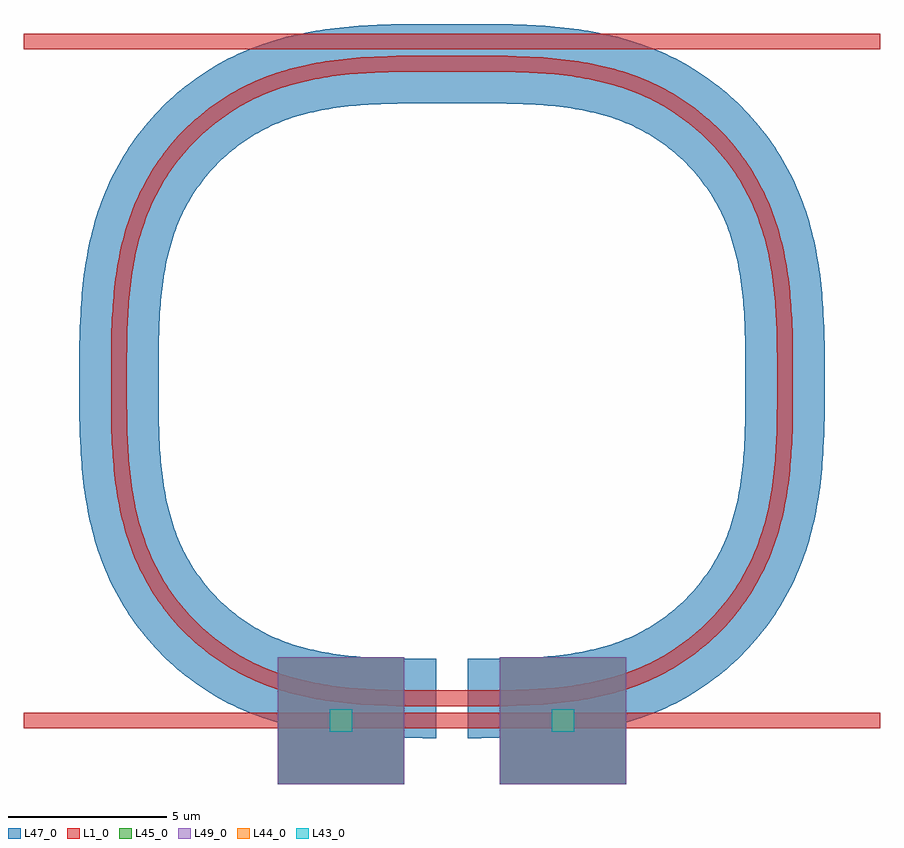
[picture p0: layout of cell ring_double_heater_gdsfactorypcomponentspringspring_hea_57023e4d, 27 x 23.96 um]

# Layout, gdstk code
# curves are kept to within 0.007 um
import gdstk
lib = gdstk.Library(unit=1e-6, precision=1e-09)
def R(c, l, rs):  # rectangles x0, y0, x1, y1
    for r in rs: c.add(gdstk.rectangle(r[:2], r[2:], *l))
def P(c, l, *ps):  # polygons
    for p in ps: c.add(gdstk.Polygon(p, *l))
L1_0 = (1, 0)
L43_0 = (43, 0)
L44_0 = (44, 0)
L45_0 = (45, 0)
L47_0 = (47, 0)
L49_0 = (49, 0)

ring_double_heater_gdsfa = lib.new_cell('ring_double_heater_gdsfactorypcomponentspringspring_hea_57023e4d')
R(ring_double_heater_gdsfa, L1_0, [(-14,-0.25,13,0.25), (-14,21.16,13,21.66)])
P(ring_double_heater_gdsfa, L1_0, [(-1.416,0.45),(-2.392,0.461),(-3.233,0.497),(-3.935,0.556),(-4.496,0.63),(-5.055,0.731),(-5.609,0.864),(-6.155,1.034),(-6.688,1.243),(-7.205,1.494),(-7.7,1.784),(-8.171,2.112),(-8.615,2.476),(-9.029,2.874),(-9.318,3.193),(-9.673,3.644),(-9.992,4.121),(-10.273,4.622),(-10.457,5.012),(-10.618,5.411),(-10.797,5.954),(-10.939,6.506),(-11.048,7.064),(-11.128,7.625),(-11.194,8.327),(-11.235,9.168),(-11.25,10.284),(-11.242,11.963),(-11.203,12.943),(-11.144,13.645),(-11.048,14.346),(-10.907,15.042),(-10.756,15.593),(-10.618,15.999),(-10.457,16.398),(-10.273,16.788),(-10.137,17.041),(-9.992,17.289),(-9.756,17.649),(-9.588,17.881),(-9.318,18.217),(-9.029,18.536),(-8.826,18.739),(-8.615,18.934),(-8.285,19.21),(-8.056,19.383),(-7.7,19.626),(-7.455,19.776),(-7.078,19.983),(-6.688,20.167),(-6.423,20.277),(-5.902,20.46),(-1.415,20.46),(-2.38,20.449),(-3.065,20.422),(-3.746,20.371),(-4.285,20.306),(-4.952,20.19),(-5.477,20.063),(-5.99,19.904),(-6.488,19.709),(-6.969,19.475),(-7.431,19.205),(-7.869,18.899),(-8.283,18.56),(-8.668,18.189),(-9.024,17.789),(-9.346,17.363),(-9.635,16.913),(-9.887,16.441),(-10.051,16.075),(-10.237,15.573),(-10.388,15.056),(-10.506,14.53),(-10.596,13.995),(-10.661,13.456),(-10.712,12.775),(-10.731,12.365),(-10.748,11.54),(-10.749,10.008),(-10.731,9.045),(-10.695,8.362),(-10.631,7.684),(-10.531,7.013),(-10.388,6.354),(-10.237,5.837),(-10.101,5.459),(-9.887,4.969),(-9.701,4.613),(-9.495,4.269),(-9.269,3.938),(-9.024,3.621),(-8.76,3.318),(-8.479,3.032),(-8.182,2.762),(-7.869,2.511),(-7.543,2.278),(-7.203,2.065),(-6.851,1.873),(-6.488,1.701),(-6.116,1.551),(-5.606,1.383),(-5.084,1.249),(-4.553,1.146),(-3.881,1.053),(-3.338,1.005),(-2.655,0.969),(-1.83,0.952),(0.692,0.951),(1.928,0.981),(2.474,1.015),(2.881,1.053),(3.42,1.124),(3.952,1.22),(4.346,1.312),(4.735,1.422),(5.116,1.551),(5.61,1.756),(6.087,1.999),(6.431,2.205),(6.762,2.431),(7.182,2.762),(7.479,3.032),(7.76,3.318),(8.024,3.621),(8.269,3.938),(8.495,4.269),(8.765,4.731),(8.999,5.212),(9.149,5.584),(9.278,5.965),(9.388,6.354),(9.506,6.88),(9.596,7.415),(9.661,7.954),(9.719,8.772),(9.748,9.87),(9.749,11.402),(9.731,12.365),(9.704,12.912),(9.661,13.456),(9.596,13.995),(9.506,14.53),(9.388,15.056),(9.237,15.573),(9.101,15.951),(8.887,16.441),(8.701,16.797),(8.495,17.141),(8.269,17.472),(8.024,17.789),(7.85,17.993),(7.575,18.285),(7.382,18.47),(7.182,18.648),(6.869,18.899),(6.543,19.132),(6.317,19.276),(6.087,19.411),(5.731,19.597),(5.488,19.709),(5.116,19.859),(4.735,19.988),(4.346,20.098),(3.82,20.216),(3.151,20.324),(2.474,20.395),(1.655,20.441),(0.415,20.46),(-5.902,20.46),(-5.471,20.582),(-5.055,20.679),(-4.496,20.78),(-3.935,20.854),(-3.373,20.904),(-2.812,20.935),(-1.416,20.96),(1.253,20.952),(1.953,20.929),(2.514,20.893),(3.075,20.838),(3.776,20.733),(4.332,20.617),(4.883,20.466),(5.289,20.328),(5.688,20.167),(6.078,19.983),(6.455,19.776),(6.82,19.547),(7.171,19.298),(7.507,19.028),(7.826,18.739),(8.127,18.431),(8.41,18.107),(8.673,17.766),(8.992,17.289),(9.206,16.915),(9.398,16.529),(9.567,16.133),(9.712,15.729),(9.836,15.319),(9.969,14.765),(10.048,14.346),(10.128,13.785),(10.183,13.224),(10.219,12.663),(10.249,11.405),(10.239,9.308),(10.219,8.747),(10.171,8.046),(10.11,7.484),(10.023,6.924),(9.907,6.368),(9.756,5.817),(9.618,5.411),(9.457,5.012),(9.273,4.622),(9.137,4.369),(8.992,4.121),(8.756,3.761),(8.588,3.529),(8.318,3.193),(8.029,2.874),(7.826,2.671),(7.615,2.476),(7.285,2.2),(6.939,1.944),(6.579,1.708),(6.331,1.563),(5.949,1.363),(5.688,1.243),(5.289,1.082),(4.883,0.944),(4.609,0.864),(3.915,0.703),(3.496,0.63),(3.075,0.572),(2.373,0.506),(1.392,0.461),(0.695,0.451)])
R(ring_double_heater_gdsfa, L43_0, [(-4.35,-0.35,-3.65,0.35), (2.65,-0.35,3.35,0.35)])
R(ring_double_heater_gdsfa, L44_0, [(-4.35,-0.35,-3.65,0.35), (2.65,-0.35,3.35,0.35)])
R(ring_double_heater_gdsfa, L45_0, [(-6,-2,-2,2), (1,-2,5,2)])
P(ring_double_heater_gdsfa, L47_0, [(-6,-2),(-6,-0.064),(-6.484,0.09),(-6.939,0.263),(-7.532,0.536),(-7.961,0.771),(-8.511,1.123),(-8.904,1.415),(-9.4,1.838),(-9.75,2.181),(-10.078,2.544),(-10.385,2.925),(-10.669,3.324),(-11.01,3.88),(-11.306,4.462),(-11.498,4.912),(-11.662,5.368),(-11.841,5.98),(-11.979,6.593),(-12.081,7.203),(-12.153,7.807),(-12.21,8.552),(-12.23,8.992),(-12.248,9.857),(-12.249,11.411),(-12.23,12.418),(-12.191,13.154),(-12.121,13.904),(-12.034,14.511),(-11.948,14.97),(-11.8,15.583),(-11.662,16.042),(-11.437,16.649),(-11.236,17.096),(-11.01,17.53),(-10.758,17.949),(-10.482,18.354),(-10.183,18.741),(-9.862,19.11),(-9.519,19.46),(-9.279,19.681),(-8.904,19.995),(-8.511,20.287),(-8.101,20.555),(-7.676,20.798),(-7.238,21.016),(-6.788,21.208),(-6.332,21.372),(-5.873,21.51),(-5.413,21.624),(-4.954,21.717),(-4.345,21.812),(-3.743,21.877),(-3.148,21.92),(-2.417,21.948),(-1.419,21.96),(0.843,21.958),(1.708,21.94),(2.593,21.89),(3.194,21.831),(3.801,21.744),(4.26,21.658),(4.873,21.51),(5.332,21.372),(5.939,21.147),(6.386,20.946),(6.82,20.72),(7.101,20.555),(7.511,20.287),(8.031,19.893),(8.4,19.572),(8.635,19.345),(8.862,19.11),(9.183,18.741),(9.577,18.221),(9.845,17.811),(10.01,17.53),(10.164,17.242),(10.373,16.799),(10.61,16.194),(10.8,15.583),(10.879,15.276),(10.979,14.817),(11.102,14.055),(11.191,13.154),(11.23,12.418),(11.244,11.839),(11.25,10.281),(11.23,8.992),(11.18,8.107),(11.121,7.506),(11.034,6.899),(10.914,6.287),(10.757,5.674),(10.556,5.064),(10.373,4.611),(10.164,4.168),(9.845,3.599),(9.577,3.189),(9.385,2.925),(9.183,2.669),(8.862,2.3),(8.4,1.838),(8.031,1.517),(7.775,1.315),(7.511,1.123),(7.101,0.855),(6.532,0.536),(6.089,0.327),(5.788,0.202),(5.332,0.038),(5,-0.064),(5,-2),(1,-2),(1,-0.546),(0,-0.55),(0,1.95),(1,1.955),(1,2),(2.224,2),(3.021,2.077),(3.628,2.175),(4.098,2.281),(4.66,2.45),(5.087,2.618),(5.295,2.713),(5.598,2.871),(5.987,3.11),(6.356,3.378),(6.786,3.753),(7.026,3.997),(7.177,4.168),(7.46,4.526),(7.772,5.003),(7.987,5.405),(8.211,5.931),(8.323,6.262),(8.419,6.602),(8.501,6.953),(8.568,7.312),(8.665,8.052),(8.726,8.95),(8.748,9.879),(8.748,11.531),(8.714,12.72),(8.665,13.358),(8.588,13.977),(8.475,14.575),(8.323,15.148),(8.17,15.586),(7.936,16.107),(7.829,16.308),(7.653,16.601),(7.392,16.976),(7.026,17.413),(6.703,17.736),(6.266,18.102),(5.891,18.363),(5.598,18.539),(5.397,18.646),(4.982,18.837),(4.438,19.033),(3.982,19.158),(3.509,19.257),(3.021,19.333),(2.395,19.398),(1.75,19.436),(0.413,19.46),(-1.821,19.458),(-2.75,19.436),(-3.395,19.398),(-3.898,19.348),(-4.267,19.298),(-4.747,19.211),(-5.212,19.099),(-5.66,18.96),(-5.982,18.837),(-6.397,18.646),(-6.795,18.423),(-7.174,18.17),(-7.445,17.96),(-7.786,17.657),(-8.102,17.328),(-8.392,16.976),(-8.653,16.601),(-8.829,16.308),(-9.036,15.901),(-9.25,15.37),(-9.419,14.808),(-9.547,14.219),(-9.638,13.608),(-9.706,12.849),(-9.739,12.066),(-9.75,11.123),(-9.748,9.879),(-9.726,8.95),(-9.677,8.179),(-9.588,7.433),(-9.525,7.072),(-9.448,6.718),(-9.287,6.15),(-9.211,5.931),(-9.082,5.613),(-8.987,5.405),(-8.829,5.102),(-8.526,4.619),(-8.25,4.255),(-7.868,3.832),(-7.532,3.523),(-7.174,3.24),(-6.697,2.928),(-6.295,2.713),(-5.876,2.53),(-5.438,2.377),(-4.982,2.252),(-4.509,2.153),(-3.898,2.062),(-3.224,2),(-2,2),(-2,1.955),(-1,1.95),(-1,-0.55),(-2,-0.546),(-2,-2)])
R(ring_double_heater_gdsfa, L49_0, [(-6,-2,-2,2), (1,-2,5,2)])

lib.write_gds('ring_double_heater_gdsfactorypcomponentspringspring_hea_57023e4d.gds')
